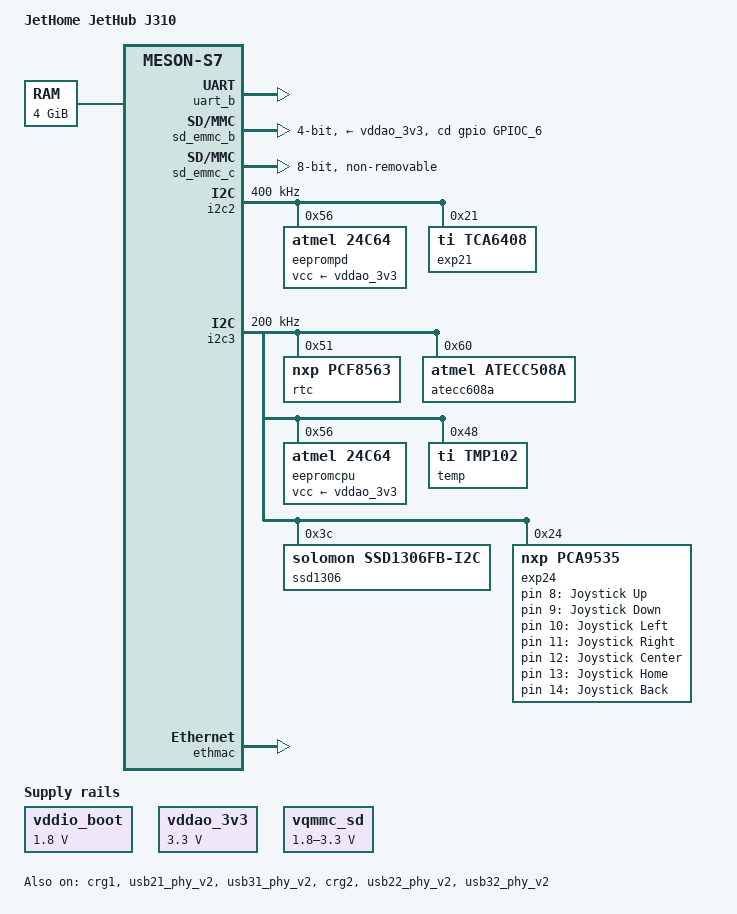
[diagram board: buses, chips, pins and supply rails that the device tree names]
// SPDX-License-Identifier: (GPL-2.0+ OR MIT)
/*
 * Copyright (c) 2026 JetHome
 */

/dts-v1/;

#include "amlogic/meson-s7.dtsi"
#include "amlogic/meson-s7-txxx.dtsi"

#include <dt-bindings/gpio/gpio.h>
#include <dt-bindings/input/input.h>

/ {
	compatible = "jethome,jethub-j310", "amlogic,s7-txxx", "amlogic,meson-s7";
	model = "JetHome JetHub J310";

	aliases {
		serial0 = &uart_b;
		ethernet0 = &ethmac;
		mmc0 = &sd_emmc_b;  /* SD card */
		mmc1 = &sd_emmc_c;  /* eMMC */
	};

	chosen {
		stdout-path = "serial0:921600n8";
	};

	/* 4GiB RAM */
	memory@0 {
		device_type = "memory";
		reg = <0x0 0x0 0x1 0x00000000>;
	};

	vddio_boot: regulator-vddio-boot {
		compatible = "regulator-fixed";
		regulator-name = "VDDIO_BOOT";
		regulator-min-microvolt = <1800000>;
		regulator-max-microvolt = <1800000>;
		regulator-boot-on;
		regulator-always-on;
	};

	vddao_3v3: regulator-vddao-3v3 {
		compatible = "regulator-fixed";
		regulator-name = "VDDAO_3V3";
		regulator-min-microvolt = <3300000>;
		regulator-max-microvolt = <3300000>;
		regulator-boot-on;
		regulator-always-on;
	};

	/*
	 * SD card IO voltage, switched via TPS2116 power mux:
	 *   PR1 = HIGH -> 3.3V (default speed / init)
	 *   PR1 = LOW  -> 1.8V (UHS-I signaling)
	 * PR1 is driven by GPIOH_6
	 */
	vqmmc_sd: regulator-vqmmc-sd {
		compatible = "regulator-gpio";
		regulator-name = "VQMMC_SD";
		regulator-min-microvolt = <1800000>;
		regulator-max-microvolt = <3300000>;

		gpios = <&gpio GPIOH_6 GPIO_ACTIVE_HIGH>;
		states = <3300000 1>,	/* GPIOH_6 HIGH -> PR1 HIGH -> 3.3V */
			 <1800000 0>;	/* GPIOH_6 LOW  -> PR1 LOW  -> 1.8V */

		regulator-boot-on;
	};

	gpio-keys {
		compatible = "gpio-keys-polled";
		poll-interval = <100>;

		button_up {
			label = "Joystick Up";
			gpios = <&exp24 8 GPIO_ACTIVE_HIGH>;
			linux,code = <KEY_UP>;
			debounce-interval = <10>;
		};

		button_down {
			label = "Joystick Down";
			gpios = <&exp24 9 GPIO_ACTIVE_HIGH>;
			linux,code = <KEY_DOWN>;
			debounce-interval = <10>;
		};

		button_left {
			label = "Joystick Left";
			gpios = <&exp24 10 GPIO_ACTIVE_HIGH>;
			linux,code = <KEY_LEFT>;
			debounce-interval = <10>;
		};

		button_right {
			label = "Joystick Right";
			gpios = <&exp24 11 GPIO_ACTIVE_HIGH>;
			linux,code = <KEY_RIGHT>;
			debounce-interval = <10>;
		};

		button_center {
			label = "Joystick Center";
			gpios = <&exp24 12 GPIO_ACTIVE_HIGH>;
			linux,code = <KEY_ENTER>;
			debounce-interval = <10>;
		};

		button_home {
			label = "Joystick Home";
			gpios = <&exp24 13 GPIO_ACTIVE_HIGH>;
			linux,code = <KEY_HOME>;
			debounce-interval = <10>;
		};

		button_back {
			label = "Joystick Back";
			gpios = <&exp24 14 GPIO_ACTIVE_HIGH>;
			linux,code = <KEY_BACK>;
			debounce-interval = <10>;
		};
	};
};

&uart_b {
	status = "okay";
};

/* SD card */
&sd_emmc_b {
	status = "okay";
	pinctrl-0 = <&sdcard_pins>;
	pinctrl-1 = <&sdcard_pins &to_sduart_pins>;
	pinctrl-names = "sd_all_pins", "sd_uart";

	bus-width = <4>;
	cap-sd-highspeed;
	sd-uhs-sdr50;
	sd-uhs-sdr104;
	max-frequency = <100000000>;

	card_type = <5>;
	cd-gpios = <&gpio GPIOC_6 GPIO_ACTIVE_HIGH>;

	init_co_phase = <2>;
	init_tx_phase = <0>;

	sd_hs_co_phase = <2>;
	sd_hs_to_phase = <0>;

	vmmc-supply = <&vddao_3v3>;
	vqmmc-supply = <&vqmmc_sd>;
};

/* eMMC */
&sd_emmc_c {
	status = "okay";
	pinctrl-0 = <&emmc_pins>;
	pinctrl-names = "default";
	bus-width = <8>;
	cap-mmc-highspeed;
	mmc-hs400-1_8v;
	max-frequency = <400000000>;
	non-removable;
	card_type = <1>;

	init_co_phase = <2>;
	init_tx_phase = <0>;

	hs_co_phase = <2>;
	hs_to_phase = <0>;

	hs2_co_phase = <2>;
	hs2_to_phase = <0>;

	hw_reset = <&gpio GPIOB_9 GPIO_ACTIVE_HIGH>;
};

&i2c2 {
	status = "okay";
    pinctrl-names = "default";
    pinctrl-0 = <&i2c2_pins2>;
    clock-frequency = <400000>;

	/* EEPROM on base board */
	eeprompd: eeprom@56 {
		compatible = "atmel,24c64";
		reg = <0x56>;
		pagesize = <0x20>;
		label = "eeprompd";
		address-width = <0x10>;
		vcc-supply = <&vddao_3v3>;
	};



	exp21: gpio@21 {
		compatible = "ti,tca6408";
		reg = <0x21>;
		gpio-controller;
		#gpio-cells = <2>;

		//Add later
		//gpio-line-names =
	};
};

&i2c3 {
    status = "okay";
    pinctrl-names = "default";
    pinctrl-0 = <&i2c3_pins2>;
    clock-frequency = <200000>;

	rtc: rtc@51 {
		status = "okay";
		compatible = "nxp,pcf8563";
		reg = <0x51>;
		wakeup-source;
	};

	/* Crypto */
	atecc608a: crypto@60 {
		compatible = "atmel,atecc508a";
		reg = <0x60>;
	};

	/* EEPROM on cpu carrier board */
	eepromcpu: eeprom@56 {
		compatible = "atmel,24c64";
		reg = <0x56>;
		pagesize = <0x20>;
		label = "eepromcpu";
		address-width = <0x10>;
		vcc-supply = <&vddao_3v3>;
	};

	/* temperature sensors */
	temp: tmp102@48 {
		compatible = "ti,tmp102";
		reg = <0x48>;
	};

	ssd1306: oled@3c {
		compatible = "solomon,ssd1306fb-i2c";
		reg = <0x3c>;
		solomon,width = <128>;
		solomon,height = <64>;
		solomon,com-invdir;
		solomon,page-offset = <0>;
		solomon,dclk-div = <1>;
		solomon,dclk-frq = <15>;
		solomon,prechargep1 = <1>;
		solomon,prechargep2 = <15>;
	};

	exp24: gpio@24 {
		compatible = "nxp,pca9535";
		reg = <0x24>;
		gpio-controller;
		#gpio-cells = <2>;

		gpio-line-names =
			"", "", "", "", "", "", "", "",
			"JOY_UP", "JOY_DOWN", "JOY_LEFT", "JOY_RIGHT",
			"JOY_CENTER", "JOY_HOME", "JOY_BACK", "";
	};
};

/* USB */
&crg1 {
	status = "okay";
	dr_mode = "host";
};

&usb21_phy_v2 {
	status = "okay";
	portnum = <1>;
};

&usb31_phy_v2 {
	status = "okay";
	portnum = <0>;
};

&crg2 {
	status = "okay";
	dr_mode = "host";
};

&usb22_phy_v2 {
	status = "okay";
	portnum = <1>;
};

&usb32_phy_v2 {
	status = "okay";
	portnum = <0>;
};

&ethmac {
	status = "okay";
	internal_phy = <1>;
};
